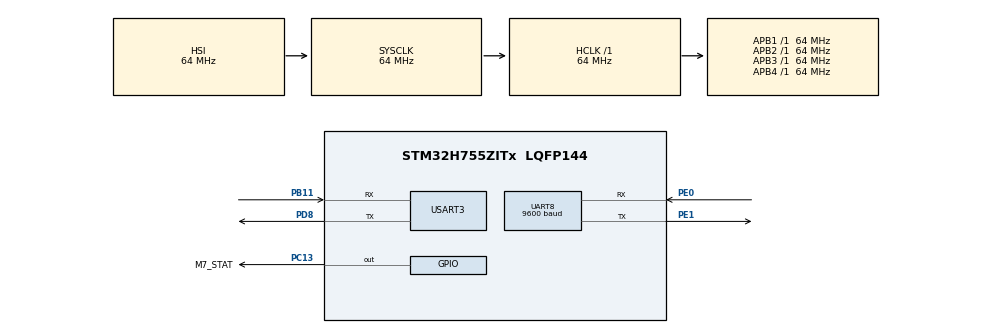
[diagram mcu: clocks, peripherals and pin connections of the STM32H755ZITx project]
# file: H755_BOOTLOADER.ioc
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CortexM4.IPs=CORTEX_M4\:I,FATFS_M4\:I,FREERTOS_M4\:I,IWDG2\:I,OPENAMP_M4\:I,PDM2PCM_M4\:I,PWR,RCC,RESMGR_UTILITY,SYS_M4\:I,USB_DEVICE_M4\:I,USB_HOST_M4\:I,VREFBUF,WWDG2\:I,GPIO,DMA,BDMA,MDMA,NVIC2\:I
CortexM7.IPs=CORTEX_M7\:I,FATFS_M7\:I,FREERTOS_M7\:I,IWDG1\:I,OPENAMP_M7\:I,PDM2PCM_M7\:I,PWR\:I,RCC\:I,RESMGR_UTILITY\:I,SYS\:I,USB_DEVICE_M7\:I,USB_HOST_M7\:I,VREFBUF\:I,WWDG1\:I,GPIO\:I,DMA\:I,BDMA\:I,MDMA\:I,NVIC1\:I,UART8\:I,USART3\:I
CortexM7.Pins=PC13
Mcu.Family=STM32H7
Mcu.Name=STM32H755ZITx
Mcu.Package=LQFP144
NVIC1.PriorityGroup=NVIC_PRIORITYGROUP_4
NVIC2.PriorityGroup=NVIC_PRIORITYGROUP_4
PB11.Mode=Asynchronous
PB11.PinAttribute=CortexM7
PB11.Signal=USART3_RX
PC13.GPIO_Label=M7_STAT
PC13.PinAttribute=CortexM7
PC13.Signal=GPIO_Output
PD8.Mode=Asynchronous
PD8.PinAttribute=CortexM7
PD8.Signal=USART3_TX
PE0.Mode=Asynchronous
PE0.PinAttribute=CortexM7
PE0.Signal=UART8_RX
PE1.Mode=Asynchronous
PE1.PinAttribute=CortexM7
PE1.Signal=UART8_TX
ProjectManager.HeapSize=M4-0x200,M7-0x200
ProjectManager.StackSize=M4-0x400,M7-0x400
ProjectManager.TargetToolchain=STM32CubeIDE
RCC.ADCFreq_Value=129000000
RCC.APB1Freq_Value=64000000
RCC.APB2Freq_Value=64000000
RCC.APB3Freq_Value=64000000
RCC.APB4Freq_Value=64000000
RCC.CortexFreq_Value=64000000
RCC.HCLKFreq_Value=64000000
RCC.PWR_Regulator_Voltage_Scale=PWR_REGULATOR_VOLTAGE_SCALE2
RCC.SYSCLKFreq_VALUE=64000000
RCC.SupplySource=PWR_LDO_SUPPLY
RCC.USBFreq_Value=129000000
SYS.userName=SYS_M7
UART8.BaudRate=9600
UART8.SwapParam=UART_ADVFEATURE_SWAP_ENABLE
USART3.VirtualMode-Asynchronous=VM_ASYNC
VP_SYS_M4_VS_Systick.Mode=SysTick
board=custom

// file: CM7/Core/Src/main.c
/* USER CODE BEGIN Header */
/**
  ******************************************************************************
  * @file           : main.c
  * @brief          : Main program body
  ******************************************************************************
  * @attention
  *
  * Copyright (c) 2026 STMicroelectronics.
  * All rights reserved.
  *
  * This software is licensed under terms that can be found in the LICENSE file
  * in the root directory of this software component.
  * If no LICENSE file comes with this software, it is provided AS-IS.
  *
  ******************************************************************************
  */
/* USER CODE END Header */
#include "main.h"

/* USER CODE BEGIN Includes */
#include "bl_jump.h"
#include "bl_ota.h"
#include "string.h"
#include "flash_layout.h"
#include "app_header.h"
#include "flash_operations.h"
#include "bl_log.h"
#include <stdio.h>
#include "bl_update.h"

/* USER CODE END Includes */

/* USER CODE BEGIN PD */
//#define TEST_FLASH_BANK2   /* P3 bench test: uncomment, build, flash, read the log, comment out again */
//#define TEST_IMAGE_CHECK   /* P5 bench test: same use; writes only bank 2 S6 (backup) */
//#define TEST_BOOT_FLAGS    /* P6 bench test: same use; writes at most one record into S1 */
//#define TEST_INSTALL 1     /* P7 bench test: 1 = full install of the running app as version + 1 (rewrites the app area), 2 = wrong CRC in IMAGE_READY (step A must refuse), 3 = seed only: the boot decision installs it (P8) */
//#define PL_TEST_BOOT_DELAY_MS 3000   /* power-loss tests only: wait before the first log line so the terminal can reconnect. Remove before release */

/* DUAL_CORE_BOOT_SYNC_SEQUENCE: Define for dual core boot synchronization    */
/*                             demonstration code based on hardware semaphore */
/* This define is present in both CM7/CM4 projects                            */
/* To comment when developping/debugging on a single core                     */
//#define DUAL_CORE_BOOT_SYNC_SEQUENCE

#if defined(DUAL_CORE_BOOT_SYNC_SEQUENCE)
#ifndef HSEM_ID_0
#define HSEM_ID_0 (0U) /* HW semaphore 0*/
#endif
#endif /* DUAL_CORE_BOOT_SYNC_SEQUENCE */

/* USER CODE END PD */

UART_HandleTypeDef huart8;
UART_HandleTypeDef huart3;

void SystemClock_Config(void);
static void MX_GPIO_Init(void);
static void MX_UART8_Init(void);
static void MX_USART3_UART_Init(void);

/* USER CODE BEGIN 0 */

#ifdef TEST_FLASH_BANK2
/* . Only built when TEST_FLASH_BANK2 is defined. */
static void test_flash_bank2(void)
{
    static const uint8_t pattern[FLASH_WORD_BYTES] =
    {
        0x11, 0x22, 0x33, 0x44, 0x55, 0x66, 0x77, 0x88, 0x99, 0xAA, 0xBB, 0xCC, 0xDD, 0xEE, 0xF0, 0x0F,
        0x01, 0x02, 0x03, 0x04, 0x05, 0x06, 0x07, 0x08, 0x09, 0x0A, 0x0B, 0x0C, 0x0D, 0x0E, 0x0F, 0x10
    };
    char line[80];
    uint32_t t0;
    int err;

    /* 1. Guard decisions only: nothing is erased. Expect 0 0 0 1 1 */
    snprintf(line, sizeof(line), "T3 allow B1S0=%d B1S6=%d B1S7=%d BKP=%d RX=%d\r\n",
             flash_erase_allowed(FLASH_BANK_1, BL_SECTOR, 1),
             flash_erase_allowed(FLASH_BANK_1, FLASH_SECTOR_6, 1),
             flash_erase_allowed(FLASH_BANK_1, ARQ_CFG_SECTOR, 1),
             flash_erase_allowed(BKP_BANK, BKP_SECTOR, BKP_NB_SECTORS),
             flash_erase_allowed(RX_BANK, RX_SECTOR, RX_NB_SECTORS));
    bl_print(line);

    /* 2. Guard wired into the erase. Flash stays LOCKED here, so even a broken guard erases nothing. */
    err = flash_erase_sectors(FLASH_BANK_1, ARQ_CFG_SECTOR, 1);
    snprintf(line, sizeof(line), "T3 erase B1S7 locked: %d (expect -32)\r\n", err);
    bl_print(line);

    /* 3. Bank 2 sector 7: erase, write one flash word, read it back */
    HAL_FLASH_Unlock();
    t0  = HAL_GetTick();
    err = flash_erase_rx();
    snprintf(line, sizeof(line), "T3 erase B2S7: %d, %lu ms, hal 0x%08lX\r\n",
             err, (unsigned long)(HAL_GetTick() - t0), (unsigned long)flash_last_hal_error());
    bl_print(line);
    if (err == 0)
        err = flash_write_flashword(RX_START_ADDR, pattern);
    HAL_FLASH_Lock();

    bl_print((err == 0 && memcmp((const void *)RX_START_ADDR, pattern, sizeof(pattern)) == 0)
             ? "T3 write+read B2S7: OK\r\n" : "T3 write+read B2S7: FAIL\r\n");
}
#endif

#ifdef TEST_IMAGE_CHECK
/* . Only built when TEST_IMAGE_CHECK is defined.
   Writes only bank 2 S6 (backup). Never the app, the S1 header sector or the OTA slot. */
#include "bl_image.h"
#include "board_cfg.h"
#include "crc32.h"

#define T5_PAYLOAD  1024U
static uint8_t t5_img[IMG_HDR_SIZE + T5_PAYLOAD] __attribute__((aligned(32)));   // test image in RAM

/* Builds a fresh RAM image every call (1 KB payload), changes one thing, runs image_check on it. */
static int t5_ram_image(uint32_t magic, uint32_t size, uint32_t hw_rev, int flip_bit)
{
    ota_image_hdr_t *h = (ota_image_hdr_t *)t5_img;
    uint8_t *payload   = t5_img + IMG_HDR_SIZE;

    for (uint32_t i = 0; i < T5_PAYLOAD; i++)
        payload[i] = (uint8_t)(i * 7U + 3U);
    h->magic       = magic;
    h->version     = 1;
    h->image_size  = size;
    h->crc         = crc32(payload, T5_PAYLOAD);
    h->hw_rev      = hw_rev;
    h->reserved[0] = h->reserved[1] = h->reserved[2] = 0xFFFFFFFF;
    if (flip_bit)
        payload[100] ^= 0x01;                    // one bit flipped after the CRC was taken
    return image_check((uint32_t)t5_img);
}

static void test_image_check(void)
{
    const uint32_t rx_payload = RX_START_ADDR + IMG_HDR_SIZE;
    ota_image_hdr_t h;
    uint32_t t0, t_off, t_on, crc_off, crc_on;
    int rc, r_crc, r_overlap, r_size, r_still;

    /* 1. image_check on RAM images, no flash access. Expect 0 -10 -11 -11 -12 -13 */
    bl_logf("T5 check good=%d magic=%d size0=%d big=%d hwrev=%d crc=%d\r\n",
            t5_ram_image(APP_MAGIC, T5_PAYLOAD, BOARD_HW_REV, 0),
            t5_ram_image(0x12345678U, T5_PAYLOAD, BOARD_HW_REV, 0),
            t5_ram_image(APP_MAGIC, 0, BOARD_HW_REV, 0),
            t5_ram_image(APP_MAGIC, IMG_MAX_PAYLOAD + 1U, BOARD_HW_REV, 0),
            t5_ram_image(APP_MAGIC, T5_PAYLOAD, BOARD_HW_REV + 1U, 0),
            t5_ram_image(APP_MAGIC, T5_PAYLOAD, BOARD_HW_REV, 1));

    /* 2. Time one full-size CRC pass: 131,040 bytes of bank 2 S7, whatever they hold */
    t0      = HAL_GetTick();
    crc_off = crc32((const uint8_t *)rx_payload, IMG_MAX_PAYLOAD);
    t_off   = HAL_GetTick() - t0;
    SCB_EnableICache();
    t0      = HAL_GetTick();
    crc_on  = crc32((const uint8_t *)rx_payload, IMG_MAX_PAYLOAD);
    t_on    = HAL_GetTick() - t0;
    SCB_DisableICache();                         // back to how the bootloader runs today
    bl_logf("T5 crc 128K: %lu ms I-cache off, %lu ms on, same=%d\r\n",
            (unsigned long)t_off, (unsigned long)t_on, crc_off == crc_on);

    /* 3. Worst-case copy: those 131,040 bytes into the backup (erase + write + read-back). Expect 0 */
    h.magic       = APP_MAGIC;
    h.version     = 0;
    h.image_size  = IMG_MAX_PAYLOAD;
    h.crc         = crc_off;
    h.hw_rev      = BOARD_HW_REV;
    h.reserved[0] = h.reserved[1] = h.reserved[2] = 0xFFFFFFFF;
    t0 = HAL_GetTick();
    rc = copy_image(&h, rx_payload, &region_backup, crc_off);
    bl_logf("T5 copy 128K S7->BKP: %d %s, %lu ms, hal 0x%08lX\r\n", rc, bl_err_text(rc),
            (unsigned long)(HAL_GetTick() - t0), (unsigned long)flash_last_hal_error());

    /* 4. Refusals: each returns before the erase, so the backup from step 3 stays good.
          Expect -14 -33 -11, then 0 */
    r_crc     = copy_image(&h, rx_payload, &region_backup, crc_off ^ 1U);              // wrong expected CRC
    r_overlap = copy_image(&h, BKP_START_ADDR + IMG_HDR_SIZE, &region_backup, crc_off); // source inside dst
    h.image_size = 0;
    r_size    = copy_image(&h, rx_payload, &region_backup, crc_off);                    // size 0
    r_still   = image_check(BKP_START_ADDR);
    bl_logf("T5 refuse crc=%d overlap=%d size0=%d, backup still=%d\r\n", r_crc, r_overlap, r_size, r_still);

    /* 5. The real backup step (Part 7 step B): running app -> backup. Expect 0 */
    if (bootloader_is_app_valid() == 0)
    {
        make_backup_header(&h);
        t0 = HAL_GetTick();
        rc = copy_image(&h, APP_START_ADDR, &region_backup, h.crc);
        bl_logf("T5 backup app v%lu, %lu bytes: %d %s, %lu ms\r\n", (unsigned long)h.version,
                (unsigned long)h.image_size, rc, bl_err_text(rc), (unsigned long)(HAL_GetTick() - t0));
    }
    else
        bl_print("T5 backup: no valid app, skipped\r\n");

    /* 6. Leave the backup empty. Expect 0, then -10 (erased magic) */
    HAL_FLASH_Unlock();
    rc = flash_erase_backup();
    HAL_FLASH_Lock();
    r_still = image_check(BKP_START_ADDR);
    bl_logf("T5 erase BKP: %d, backup now=%d\r\n", rc, r_still);
}
#endif

#ifdef TEST_BOOT_FLAGS
/* . Only built when TEST_BOOT_FLAGS is defined.
   Writes at most one record into S1, and only when the log has no valid record. Never erases. */
#include "boot_flags.h"

static void t6_print_log(void)
{
    boot_flag_rec_t last;
    uint32_t next_free, count, bad;
    int rc = flags_read_last(&last, &next_free, &count, &bad);

    bl_logf("T6 log: %d, %s, %lu valid, %lu bad, next 0x%08lX\r\n", rc, bl_state_text(last.state),
            (unsigned long)count, (unsigned long)bad, (unsigned long)next_free);
    bl_logf("T6 last: crc 0x%08lX, v%lu, detail %ld\r\n", (unsigned long)last.img_crc,
            (unsigned long)last.img_version, (long)last.detail);
}

static void test_boot_flags(void)
{
    uint32_t count, t0;
    int rc;

    /* 1. The log as it is now. After a reset or a power-off this must show the record from the first run */
    t6_print_log();

    /* 2. Only on a log with no valid record: add IMAGE_READY with test values, then read the log again */
    flags_read_last(NULL, NULL, &count, NULL);
    if (count == 0)
    {
        t0 = HAL_GetTick();
        rc = flags_append(FLAG_STATE_IMAGE_READY, 0x12345678U, 2U, 0);
        bl_logf("T6 append IMAGE_READY: %d %s, %lu ms\r\n", rc, bl_err_text(rc), (unsigned long)(HAL_GetTick() - t0));
        t6_print_log();
    }

    /* 3. An invalid state is refused before anything is written. Expect -21 */
    rc = flags_append(9U, 0, 0, 0);
    bl_logf("T6 append state 9: %d %s\r\n", rc, bl_err_text(rc));
}
#endif

#ifdef TEST_INSTALL
/* Only built when TEST_INSTALL is defined (1 or 2).
   On an empty flag log with a valid app: S7 = copy of the running app labelled version + 1, then IMAGE_READY.
   Then it runs the install sequence, as Part 8 will in the real boot.
   Mode 1 rewrites the app area (same code, new version number). Mode 2 puts a wrong CRC into
   IMAGE_READY: step A must refuse it, and the app, slot and backup must stay as they were. */
#include "boot_flags.h"
#include "bl_image.h"
#include "bl_update.h"
#include "bl_errors.h"

static const flash_region_t t7_region_rx = { RX_START_ADDR, RX_BANK, RX_SECTOR, RX_NB_SECTORS };

static void test_install(void)
{
    boot_flag_rec_t last;
    uint32_t count;
    ota_image_hdr_t h;
    int rc;

    flags_read_last(&last, NULL, &count, NULL);
    bl_logf("T7 flags: %s, %lu valid\r\n", bl_state_text(last.state), (unsigned long)count);

    /* 1. Seed, only on an empty log with a valid running app */
    if (count == 0 && bootloader_is_app_valid() == 0)
    {
        make_backup_header(&h);
        h.version += 1U;                                           // same code, next version number
        rc = copy_image(&h, APP_START_ADDR, &t7_region_rx, h.crc);
        bl_logf("T7 seed S7: v%lu %luB: %d %s\r\n", (unsigned long)h.version,
                (unsigned long)h.image_size, rc, bl_err_text(rc));
        if (rc == BL_OK)
        {
			#if TEST_INSTALL == 2
            rc = flags_append(FLAG_STATE_IMAGE_READY, h.crc ^ 1U, h.version, 0);   // wrong CRC on purpose

            #else
            rc = flags_append(FLAG_STATE_IMAGE_READY, h.crc, h.version, 0);

            #endif
            bl_logf("T7 seed IMAGE_READY: %d %s\r\n", rc, bl_err_text(rc));
        }
        flags_read_last(&last, NULL, &count, NULL);
    }

	#if TEST_INSTALL != 3
    /* 2. Resume from the last record, as Part 8 will do in every boot */
    rc = bl_update_resume(&last);
    flags_read_last(&last, NULL, &count, NULL);
    bl_logf("T7 resume: %d %s, flags now %s, %lu valid\r\n", rc, bl_err_text(rc),
            bl_state_text(last.state), (unsigned long)count);
	#endif

}
#endif

/* USER CODE END 0 */

int main(void)
{

/* USER CODE BEGIN Boot_Mode_Sequence_0 */
#if defined(DUAL_CORE_BOOT_SYNC_SEQUENCE)
  int32_t timeout;
#endif /* DUAL_CORE_BOOT_SYNC_SEQUENCE */
/* USER CODE END Boot_Mode_Sequence_0 */

/* USER CODE BEGIN Boot_Mode_Sequence_1 */
#if defined(DUAL_CORE_BOOT_SYNC_SEQUENCE)
  /* Wait until CPU2 boots and enters in stop mode or timeout*/
  timeout = 0xFFFF;
  while((__HAL_RCC_GET_FLAG(RCC_FLAG_D2CKRDY) != RESET) && (timeout-- > 0));
  if ( timeout < 0 )
  {
  Error_Handler();
  }
#endif /* DUAL_CORE_BOOT_SYNC_SEQUENCE */
/* USER CODE END Boot_Mode_Sequence_1 */
  /* MCU Configuration--------------------------------------------------------*/

  /* Reset of all peripherals, Initializes the Flash interface and the Systick. */
  HAL_Init();

  /* Configure the system clock */
  SystemClock_Config();
/* USER CODE BEGIN Boot_Mode_Sequence_2 */
#if defined(DUAL_CORE_BOOT_SYNC_SEQUENCE)
/* When system initialization is finished, Cortex-M7 will release Cortex-M4 by means of
HSEM notification */
/*HW semaphore Clock enable*/
__HAL_RCC_HSEM_CLK_ENABLE();
/*Take HSEM */
HAL_HSEM_FastTake(HSEM_ID_0);
/*Release HSEM in order to notify the CPU2(CM4)*/
HAL_HSEM_Release(HSEM_ID_0,0);
/* wait until CPU2 wakes up from stop mode */
timeout = 0xFFFF;
while((__HAL_RCC_GET_FLAG(RCC_FLAG_D2CKRDY) == RESET) && (timeout-- > 0));
if ( timeout < 0 )
{
Error_Handler();
}
#endif /* DUAL_CORE_BOOT_SYNC_SEQUENCE */
/* USER CODE END Boot_Mode_Sequence_2 */

  /* Initialize all configured peripherals */
  MX_GPIO_Init();
  MX_UART8_Init();
  MX_USART3_UART_Init();
  /* USER CODE BEGIN 2 */
  HAL_Delay(100);
  #ifdef PL_TEST_BOOT_DELAY_MS
    HAL_Delay(PL_TEST_BOOT_DELAY_MS);   /* test only: time to reconnect the terminal */
  #endif
      // W25Q_Reset();                                  // F411: remove

    /* H755 */

    bl_print("Inside Bootloader!!\r\n");

    /* TESTS */
    #ifdef TEST_FLASH_BANK2
  	  test_flash_bank2();
    #endif

    #ifdef TEST_IMAGE_CHECK
  	  test_image_check();
    #endif

    #ifdef TEST_BOOT_FLAGS
  	  test_boot_flags();
    #endif

    #ifdef TEST_INSTALL
  	  test_install();
    #endif

    /* Boot decision: flags, resume, Fix A fallback and app check, all in bl_update.c */
    int err = bl_boot_decide();
    if (err != 0)
    {
        bl_logf("Failed to Jump!! %d %s\r\n", err, bl_err_text(err));
        while (1)
        {
        }
    }

    bl_logf("JUMP v%lu, %lu ms after reset\r\n",
            (unsigned long)((const app_header_t *)APP_HEADER_ADDR)->version, (unsigned long)HAL_GetTick());
    JumpToApplication();

  /* USER CODE END 2 */

  /* Infinite loop */
  while (1)
  {

  }
}

void SystemClock_Config(void)
{
  RCC_OscInitTypeDef RCC_OscInitStruct = {0};
  RCC_ClkInitTypeDef RCC_ClkInitStruct = {0};

  /** Supply configuration update enable
  */
  HAL_PWREx_ConfigSupply(PWR_LDO_SUPPLY);

  /** Configure the main internal regulator output voltage
  */
  __HAL_PWR_VOLTAGESCALING_CONFIG(PWR_REGULATOR_VOLTAGE_SCALE2);

  while(!__HAL_PWR_GET_FLAG(PWR_FLAG_VOSRDY)) {}

  /** Initializes the RCC Oscillators according to the specified parameters
  * in the RCC_OscInitTypeDef structure.
  */
  RCC_OscInitStruct.OscillatorType = RCC_OSCILLATORTYPE_HSI;
  RCC_OscInitStruct.HSIState = RCC_HSI_DIV1;
  RCC_OscInitStruct.HSICalibrationValue = RCC_HSICALIBRATION_DEFAULT;
  RCC_OscInitStruct.PLL.PLLState = RCC_PLL_NONE;
  if (HAL_RCC_OscConfig(&RCC_OscInitStruct) != HAL_OK)
  {
    Error_Handler();
  }

  /** Initializes the CPU, AHB and APB buses clocks
  */
  RCC_ClkInitStruct.ClockType = RCC_CLOCKTYPE_HCLK|RCC_CLOCKTYPE_SYSCLK
                              |RCC_CLOCKTYPE_PCLK1|RCC_CLOCKTYPE_PCLK2
                              |RCC_CLOCKTYPE_D3PCLK1|RCC_CLOCKTYPE_D1PCLK1;
  RCC_ClkInitStruct.SYSCLKSource = RCC_SYSCLKSOURCE_HSI;
  RCC_ClkInitStruct.SYSCLKDivider = RCC_SYSCLK_DIV1;
  RCC_ClkInitStruct.AHBCLKDivider = RCC_HCLK_DIV1;
  RCC_ClkInitStruct.APB3CLKDivider = RCC_APB3_DIV1;
  RCC_ClkInitStruct.APB1CLKDivider = RCC_APB1_DIV1;
  RCC_ClkInitStruct.APB2CLKDivider = RCC_APB2_DIV1;
  RCC_ClkInitStruct.APB4CLKDivider = RCC_APB4_DIV1;

  if (HAL_RCC_ClockConfig(&RCC_ClkInitStruct, FLASH_LATENCY_1) != HAL_OK)
  {
    Error_Handler();
  }
}

static void MX_UART8_Init(void)
{

  huart8.Instance = UART8;
  huart8.Init.BaudRate = 9600;
  huart8.Init.WordLength = UART_WORDLENGTH_8B;
  huart8.Init.StopBits = UART_STOPBITS_1;
  huart8.Init.Parity = UART_PARITY_NONE;
  huart8.Init.Mode = UART_MODE_TX_RX;
  huart8.Init.HwFlowCtl = UART_HWCONTROL_NONE;
  huart8.Init.OverSampling = UART_OVERSAMPLING_16;
  huart8.Init.OneBitSampling = UART_ONE_BIT_SAMPLE_DISABLE;
  huart8.Init.ClockPrescaler = UART_PRESCALER_DIV1;
  huart8.AdvancedInit.AdvFeatureInit = UART_ADVFEATURE_SWAP_INIT;
  huart8.AdvancedInit.Swap = UART_ADVFEATURE_SWAP_ENABLE;
  if (HAL_UART_Init(&huart8) != HAL_OK)
  {
    Error_Handler();
  }
  if (HAL_UARTEx_SetTxFifoThreshold(&huart8, UART_TXFIFO_THRESHOLD_1_8) != HAL_OK)
  {
    Error_Handler();
  }
  if (HAL_UARTEx_SetRxFifoThreshold(&huart8, UART_RXFIFO_THRESHOLD_1_8) != HAL_OK)
  {
    Error_Handler();
  }
  if (HAL_UARTEx_DisableFifoMode(&huart8) != HAL_OK)
  {
    Error_Handler();
  }

}

static void MX_USART3_UART_Init(void)
{

  huart3.Instance = USART3;
  huart3.Init.BaudRate = 115200;
  huart3.Init.WordLength = UART_WORDLENGTH_8B;
  huart3.Init.StopBits = UART_STOPBITS_1;
  huart3.Init.Parity = UART_PARITY_NONE;
  huart3.Init.Mode = UART_MODE_TX_RX;
  huart3.Init.HwFlowCtl = UART_HWCONTROL_NONE;
  huart3.Init.OverSampling = UART_OVERSAMPLING_16;
  huart3.Init.OneBitSampling = UART_ONE_BIT_SAMPLE_DISABLE;
  huart3.Init.ClockPrescaler = UART_PRESCALER_DIV1;
  huart3.AdvancedInit.AdvFeatureInit = UART_ADVFEATURE_NO_INIT;
  if (HAL_UART_Init(&huart3) != HAL_OK)
  {
    Error_Handler();
  }
  if (HAL_UARTEx_SetTxFifoThreshold(&huart3, UART_TXFIFO_THRESHOLD_1_8) != HAL_OK)
  {
    Error_Handler();
  }
  if (HAL_UARTEx_SetRxFifoThreshold(&huart3, UART_RXFIFO_THRESHOLD_1_8) != HAL_OK)
  {
    Error_Handler();
  }
  if (HAL_UARTEx_DisableFifoMode(&huart3) != HAL_OK)
  {
    Error_Handler();
  }

}

static void MX_GPIO_Init(void)
{
  GPIO_InitTypeDef GPIO_InitStruct = {0};

  /* GPIO Ports Clock Enable */
  __HAL_RCC_GPIOC_CLK_ENABLE();
  __HAL_RCC_GPIOB_CLK_ENABLE();
  __HAL_RCC_GPIOD_CLK_ENABLE();
  __HAL_RCC_GPIOE_CLK_ENABLE();

  /*Configure GPIO pin Output Level */
  HAL_GPIO_WritePin(M7_STAT_GPIO_Port, M7_STAT_Pin, GPIO_PIN_RESET);

  /*Configure GPIO pin : M7_STAT_Pin */
  GPIO_InitStruct.Pin = M7_STAT_Pin;
  GPIO_InitStruct.Mode = GPIO_MODE_OUTPUT_PP;
  GPIO_InitStruct.Pull = GPIO_NOPULL;
  GPIO_InitStruct.Speed = GPIO_SPEED_FREQ_LOW;
  HAL_GPIO_Init(M7_STAT_GPIO_Port, &GPIO_InitStruct);

}

void Error_Handler(void)
{
  __disable_irq();
  while (1)
  {
  }
}
